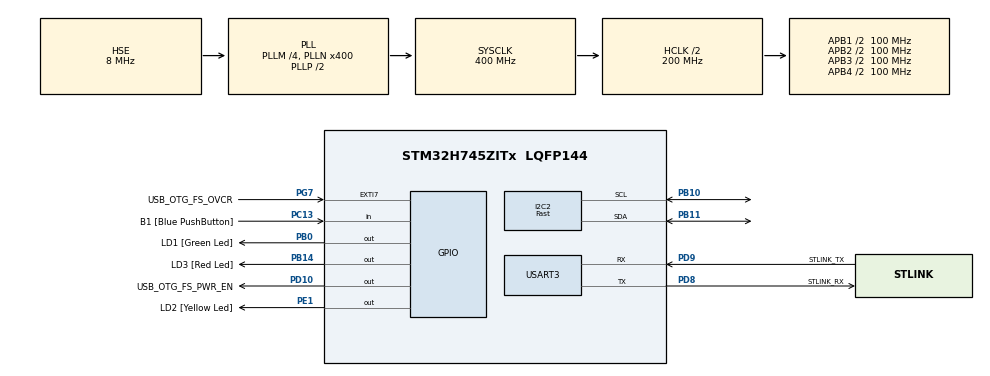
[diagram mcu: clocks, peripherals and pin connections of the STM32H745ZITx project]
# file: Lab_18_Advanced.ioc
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CortexM4.IPs=FATFS_M4\:I,FREERTOS_M4\:I,IWDG2\:I,RCC,WWDG2\:I,DMA,BDMA,MDMA,NVIC2\:I,USART3,ETH,DEBUG,PDM2PCM_M4\:I,PWR,RESMGR_UTILITY,SYS_M4\:I,USB_DEVICE_M4\:I,USB_HOST_M4\:I,CORTEX_M4\:I,GPIO,OPENAMP_M4\:I,VREFBUF
CortexM7.IPs=FATFS_M7\:I,FREERTOS_M7\:I,IWDG1\:I,RCC\:I,WWDG1\:I,DMA\:I,BDMA\:I,MDMA\:I,NVIC1\:I,SYS\:I,USART3\:I,USB_OTG_FS\:I,ETH\:I,CORTEX_M7\:I,DEBUG\:I,PDM2PCM_M7\:I,PWR\:I,RESMGR_UTILITY\:I,USB_DEVICE_M7\:I,USB_HOST_M7\:I,GPIO\:I,OPENAMP_M7\:I,VREFBUF\:I,I2C2\:I
CortexM7.Pins=PB0,PB14,PE1
I2C2.I2C_Speed_Mode=I2C_Fast
I2C2.Timing=0x009034B6
Mcu.Family=STM32H7
Mcu.Name=STM32H745ZITx
Mcu.Package=LQFP144
NVIC1.PriorityGroup=NVIC_PRIORITYGROUP_4
NVIC2.PriorityGroup=NVIC_PRIORITYGROUP_4
PA1.PinAttribute=CortexM7
PA1.Signal=ETH_REF_CLK
PA11.PinAttribute=CortexM7
PA11.Signal=USB_OTG_FS_DM
PA12.PinAttribute=CortexM7
PA12.Signal=USB_OTG_FS_DP
PA2.PinAttribute=CortexM7
PA2.Signal=ETH_MDIO
PA7.PinAttribute=CortexM7
PA7.Signal=ETH_CRS_DV
PA8.PinAttribute=CortexM7
PA8.Signal=USB_OTG_FS_SOF
PA9.PinAttribute=CortexM7
PA9.Signal=USB_OTG_FS_VBUS
PB0.GPIO_Label=LD1 [Green Led]
PB0.PinAttribute=CortexM7
PB0.Signal=GPIO_Output
PB10.Mode=I2C
PB10.PinAttribute=CortexM7
PB10.Signal=I2C2_SCL
PB11.Mode=I2C
PB11.PinAttribute=CortexM7
PB11.Signal=I2C2_SDA
PB13.PinAttribute=CortexM7
PB13.Signal=ETH_TXD1
PB14.GPIO_Label=LD3 [Red Led]
PB14.PinAttribute=CortexM7
PB14.Signal=GPIO_Output
PC1.PinAttribute=CortexM7
PC1.Signal=ETH_MDC
PC13.GPIO_Label=B1 [Blue PushButton]
PC13.PinAttribute=Free
PC13.Signal=GPIO_Input
PC14-OSC32_IN\ (OSC32_IN).PinAttribute=CortexM7
PC14-OSC32_IN\ (OSC32_IN).Signal=RCC_OSC32_IN
PC15-OSC32_OUT\ (OSC32_OUT).PinAttribute=CortexM7
PC15-OSC32_OUT\ (OSC32_OUT).Signal=RCC_OSC32_OUT
PC4.PinAttribute=CortexM7
PC4.Signal=ETH_RXD0
PC5.PinAttribute=CortexM7
PC5.Signal=ETH_RXD1
PD10.GPIO_Label=USB_OTG_FS_PWR_EN
PD10.PinAttribute=Free
PD10.Signal=GPIO_Output
PD8.GPIO_Label=STLINK_RX
PD8.Mode=Asynchronous
PD8.PinAttribute=CortexM7
PD8.Signal=USART3_TX
PD9.GPIO_Label=STLINK_TX
PD9.Mode=Asynchronous
PD9.PinAttribute=CortexM7
PD9.Signal=USART3_RX
PE1.GPIO_Label=LD2 [Yellow Led]
PE1.PinAttribute=CortexM7
PE1.Signal=GPIO_Output
PG11.PinAttribute=CortexM7
PG11.Signal=ETH_TX_EN
PG13.PinAttribute=CortexM7
PG13.Signal=ETH_TXD0
PG7.GPIO_Label=USB_OTG_FS_OVCR
PG7.PinAttribute=Free
PG7.Signal=GPXTI7
PH0-OSC_IN\ (PH0).Mode=HSE-External-Clock-Source
PH0-OSC_IN\ (PH0).PinAttribute=CortexM7
PH0-OSC_IN\ (PH0).Signal=RCC_OSC_IN
PH1-OSC_OUT\ (PH1).PinAttribute=CortexM7
PH1-OSC_OUT\ (PH1).Signal=RCC_OSC_OUT
ProjectManager.HeapSize=M4-0x200,M7-0x200
ProjectManager.StackSize=M4-0x400,M7-0x400
ProjectManager.TargetToolchain=STM32CubeIDE
RCC.ADCFreq_Value=16125000
RCC.APB1Freq_Value=100000000
RCC.APB2Freq_Value=100000000
RCC.APB3Freq_Value=100000000
RCC.APB4Freq_Value=100000000
RCC.CortexFreq_Value=400000000
RCC.D1PPRE=RCC_APB3_DIV2
RCC.D2PPRE1=RCC_APB1_DIV2
RCC.D2PPRE2=RCC_APB2_DIV2
RCC.D3PPRE=RCC_APB4_DIV2
RCC.DIVM1=4
RCC.DIVM3=22
RCC.DIVN1=400
RCC.DIVN3=169
RCC.DIVQ3=4
RCC.HCLKFreq_Value=200000000
RCC.HPRE=RCC_HCLK_DIV2
RCC.HSE_VALUE=8000000
RCC.PLL2FRACN=0
RCC.PLL3FRACN=0
RCC.PLLFRACN=0
RCC.PLLSourceVirtual=RCC_PLLSOURCE_HSE
RCC.SYSCLKFreq_VALUE=400000000
RCC.SYSCLKSource=RCC_SYSCLKSOURCE_PLLCLK
RCC.SupplySource=PWR_DIRECT_SMPS_SUPPLY
RCC.USBCLockSelection=RCC_USBCLKSOURCE_PLL3
RCC.USBFreq_Value=15363636.363636363
USART3.VirtualMode-Asynchronous=VM_ASYNC
VP_SYS_M4_VS_Systick.Mode=SysTick
board=NUCLEO-H745ZI-Q

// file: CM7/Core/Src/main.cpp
/* USER CODE BEGIN Header */
/**
  ******************************************************************************
  * @file           : main.c
  * @brief          : Main program body
  ******************************************************************************
  * @attention
  *
  * Copyright (c) 2023 STMicroelectronics.
  * All rights reserved.
  *
  * This software is licensed under terms that can be found in the LICENSE file
  * in the root directory of this software component.
  * If no LICENSE file comes with this software, it is provided AS-IS.
  *
  ******************************************************************************
  */
/* USER CODE END Header */
#include "main.h"

/* USER CODE BEGIN Includes */
#include "ICM_20948.h"
#include "math.h"
#include "stdio.h"
#include "string.h"
/* USER CODE END Includes */

/* USER CODE BEGIN PD */

#ifndef HSEM_ID_0
#define HSEM_ID_0 (0U) /* HW semaphore 0*/
#endif
/* USER CODE END PD */

I2C_HandleTypeDef hi2c2;

UART_HandleTypeDef huart3;

/* USER CODE BEGIN PV */
ICM_20948_I2C myICM;
/* USER CODE END PV */

void SystemClock_Config(void);
static void MX_GPIO_Init(void);
static void MX_I2C2_Init(void);
static void MX_USART3_UART_Init(void);
/* USER CODE BEGIN PFP */
#ifdef __GNUC__
#define PUTCHAR_PROTOTYPE int __io_putchar(int ch)
#else
#define PUTCHAR_PROTOTYPE int fputc(int ch, FILE *f)
#endif

extern "C" {
PUTCHAR_PROTOTYPE
{
  HAL_UART_Transmit(&huart3, (uint8_t *)&ch, 1, HAL_MAX_DELAY);
  return ch;
}
}
/* USER CODE END PFP */

int main(void)
{
/* USER CODE BEGIN Boot_Mode_Sequence_0 */
  int32_t timeout;
/* USER CODE END Boot_Mode_Sequence_0 */

/* USER CODE BEGIN Boot_Mode_Sequence_1 */
  /* Wait until CPU2 boots and enters in stop mode or timeout*/
  timeout = 0xFFFF;
  while((__HAL_RCC_GET_FLAG(RCC_FLAG_D2CKRDY) != RESET) && (timeout-- > 0));
  if ( timeout < 0 )
  {
  Error_Handler();
  }
/* USER CODE END Boot_Mode_Sequence_1 */
  /* MCU Configuration--------------------------------------------------------*/

  /* Reset of all peripherals, Initializes the Flash interface and the Systick. */
  HAL_Init();

  /* Configure the system clock */
  SystemClock_Config();
/* USER CODE BEGIN Boot_Mode_Sequence_2 */
/* When system initialization is finished, Cortex-M7 will release Cortex-M4 by means of
HSEM notification */
/*HW semaphore Clock enable*/
__HAL_RCC_HSEM_CLK_ENABLE();
/*Take HSEM */
HAL_HSEM_FastTake(HSEM_ID_0);
/*Release HSEM in order to notify the CPU2(CM4)*/
HAL_HSEM_Release(HSEM_ID_0,0);
/* wait until CPU2 wakes up from stop mode */
timeout = 0xFFFF;
while((__HAL_RCC_GET_FLAG(RCC_FLAG_D2CKRDY) == RESET) && (timeout-- > 0));
if ( timeout < 0 )
{
Error_Handler();
}
/* USER CODE END Boot_Mode_Sequence_2 */

  /* Initialize all configured peripherals */
  MX_GPIO_Init();
  MX_I2C2_Init();
  MX_USART3_UART_Init();
  /* USER CODE BEGIN 2 */
  bool initialized = false;
  while (!initialized)
  {
    myICM.begin();

    printf("Initialization of the sensor returned: ");
    printf("%s\r\n", myICM.statusString());
    if (myICM.status != ICM_20948_Stat_Ok)
    {
      printf("Trying again...\r\n");
      HAL_Delay(500);
    }
    else
    {
      initialized = true;
    }
  }

  // In this advanced example we'll cover how to do a more fine-grained setup of your sensor
  printf("Device connected!\r\n");

  // Here we are doing a SW reset to make sure the device starts in a known state
  myICM.swReset();
  if (myICM.status != ICM_20948_Stat_Ok)
  {
    printf("Software Reset returned: ");
    printf("%s\r\n", myICM.statusString());
  }
  HAL_Delay(250);

  // Now wake the sensor up
  myICM.sleep(false);
  myICM.lowPower(false);

  // The next few configuration functions accept a bit-mask of sensors for which the settings should be applied.

  // Set Gyro and Accelerometer to a particular sample mode
  // options: ICM_20948_Sample_Mode_Continuous
  //          ICM_20948_Sample_Mode_Cycled
  myICM.setSampleMode((ICM_20948_Internal_Acc | ICM_20948_Internal_Gyr), ICM_20948_Sample_Mode_Continuous);
  if (myICM.status != ICM_20948_Stat_Ok)
  {
    printf("setSampleMode returned: ");
    printf("%s\r\n", myICM.statusString());
  }

  // Set full scale ranges for both acc and gyr
  ICM_20948_fss_t myFSS; // This uses a "Full Scale Settings" structure that can contain values for all configurable sensors

  myFSS.a = gpm2; // (ICM_20948_ACCEL_CONFIG_FS_SEL_e)
                  // gpm2
                  // gpm4
                  // gpm8
                  // gpm16

  myFSS.g = dps250; // (ICM_20948_GYRO_CONFIG_1_FS_SEL_e)
                    // dps250
                    // dps500
                    // dps1000
                    // dps2000

  myICM.setFullScale((ICM_20948_Internal_Acc | ICM_20948_Internal_Gyr), myFSS);
  if (myICM.status != ICM_20948_Stat_Ok)
  {
    printf("setFullScale returned: ");
    printf("%s\r\n", myICM.statusString());
  }

  // Set up Digital Low-Pass Filter configuration
  ICM_20948_dlpcfg_t myDLPcfg;    // Similar to FSS, this uses a configuration structure for the desired sensors
  myDLPcfg.a = acc_d473bw_n499bw; // (ICM_20948_ACCEL_CONFIG_DLPCFG_e)
                                  // acc_d246bw_n265bw      - means 3db bandwidth is 246 hz and nyquist bandwidth is 265 hz
                                  // acc_d111bw4_n136bw
                                  // acc_d50bw4_n68bw8
                                  // acc_d23bw9_n34bw4
                                  // acc_d11bw5_n17bw
                                  // acc_d5bw7_n8bw3        - means 3 db bandwidth is 5.7 hz and nyquist bandwidth is 8.3 hz
                                  // acc_d473bw_n499bw

  myDLPcfg.g = gyr_d361bw4_n376bw5; // (ICM_20948_GYRO_CONFIG_1_DLPCFG_e)
                                    // gyr_d196bw6_n229bw8
                                    // gyr_d151bw8_n187bw6
                                    // gyr_d119bw5_n154bw3
                                    // gyr_d51bw2_n73bw3
                                    // gyr_d23bw9_n35bw9
                                    // gyr_d11bw6_n17bw8
                                    // gyr_d5bw7_n8bw9
                                    // gyr_d361bw4_n376bw5

  myICM.setDLPFcfg((ICM_20948_Internal_Acc | ICM_20948_Internal_Gyr), myDLPcfg);
  if (myICM.status != ICM_20948_Stat_Ok)
  {
    printf("setDLPcfg returned: ");
    printf("%s\r\n", myICM.statusString());
  }

  // Choose whether or not to use DLPF
  // Here we're also showing another way to access the status values, and that it is OK to supply individual sensor masks to these functions
  ICM_20948_Status_e accDLPEnableStat = myICM.enableDLPF(ICM_20948_Internal_Acc, false);
  ICM_20948_Status_e gyrDLPEnableStat = myICM.enableDLPF(ICM_20948_Internal_Gyr, false);
  printf("Enable DLPF for Accelerometer returned: ");
  printf("%s\r\n", myICM.statusString(accDLPEnableStat));
  printf("Enable DLPF for Gyroscope returned: ");
  printf("%s\r\n", myICM.statusString(gyrDLPEnableStat));

  // Choose whether or not to start the magnetometer
  myICM.startupMagnetometer();
  if (myICM.status != ICM_20948_Stat_Ok)
  {
    printf("startupMagnetometer returned: ");
    printf("%s\r\n", myICM.statusString());
  }

  printf("\r\nConfiguration complete!\r\n");
  /* USER CODE END 2 */

  /* Infinite loop */
  while (1)
  {

    /* USER CODE BEGIN 3 */
    if (myICM.dataReady())
    {
      myICM.getAGMT(); // The values are only updated when you call 'getAGMT'

      // Uncomment this to see the raw values, taken directly from the agmt structure
      //printf("RAW. Acc [ %6d, %6d, %6d ], Gyr [ %6d, %6d, %6d ], Mag [ %6d, %6d, %6d ], Tmp [ %6d ]\r\n",
      //       myICM.agmt.acc.axes.x, myICM.agmt.acc.axes.y, myICM.agmt.acc.axes.z,
      //       myICM.agmt.gyr.axes.x, myICM.agmt.gyr.axes.y, myICM.agmt.gyr.axes.z,
      //       myICM.agmt.mag.axes.x, myICM.agmt.mag.axes.y, myICM.agmt.mag.axes.z,
      //       myICM.agmt.tmp.val);

      // This function takes into account the scale settings from when the measurement was made to calculate the values with units
      printf("Scaled. Acc (mg) [ %8.2f, %8.2f, %8.2f ], Gyr (DPS) [ %8.2f, %8.2f, %8.2f ], Mag (uT) [ %8.2f, %8.2f, %8.2f ], Tmp (C) [ %8.2f ]\r\n",
             myICM.accX(), myICM.accY(), myICM.accZ(),
             myICM.gyrX(), myICM.gyrY(), myICM.gyrZ(),
             myICM.magX(), myICM.magY(), myICM.magZ(),
             myICM.temp());

      HAL_Delay(30);
    }
    else
    {
      printf("Waiting for data\r\n");
      HAL_Delay(500);
    }
  }
  /* USER CODE END 3 */
}

void SystemClock_Config(void)
{
  RCC_OscInitTypeDef RCC_OscInitStruct = {0};
  RCC_ClkInitTypeDef RCC_ClkInitStruct = {0};

  /** Supply configuration update enable
  */
  HAL_PWREx_ConfigSupply(PWR_DIRECT_SMPS_SUPPLY);

  /** Configure the main internal regulator output voltage
  */
  __HAL_PWR_VOLTAGESCALING_CONFIG(PWR_REGULATOR_VOLTAGE_SCALE1);

  while(!__HAL_PWR_GET_FLAG(PWR_FLAG_VOSRDY)) {}

  /** Initializes the RCC Oscillators according to the specified parameters
  * in the RCC_OscInitTypeDef structure.
  */
  RCC_OscInitStruct.OscillatorType = RCC_OSCILLATORTYPE_HSE;
  RCC_OscInitStruct.HSEState = RCC_HSE_BYPASS;
  RCC_OscInitStruct.PLL.PLLState = RCC_PLL_ON;
  RCC_OscInitStruct.PLL.PLLSource = RCC_PLLSOURCE_HSE;
  RCC_OscInitStruct.PLL.PLLM = 4;
  RCC_OscInitStruct.PLL.PLLN = 400;
  RCC_OscInitStruct.PLL.PLLP = 2;
  RCC_OscInitStruct.PLL.PLLQ = 2;
  RCC_OscInitStruct.PLL.PLLR = 2;
  RCC_OscInitStruct.PLL.PLLRGE = RCC_PLL1VCIRANGE_1;
  RCC_OscInitStruct.PLL.PLLVCOSEL = RCC_PLL1VCOWIDE;
  RCC_OscInitStruct.PLL.PLLFRACN = 0;
  if (HAL_RCC_OscConfig(&RCC_OscInitStruct) != HAL_OK)
  {
    Error_Handler();
  }

  /** Initializes the CPU, AHB and APB buses clocks
  */
  RCC_ClkInitStruct.ClockType = RCC_CLOCKTYPE_HCLK|RCC_CLOCKTYPE_SYSCLK
                              |RCC_CLOCKTYPE_PCLK1|RCC_CLOCKTYPE_PCLK2
                              |RCC_CLOCKTYPE_D3PCLK1|RCC_CLOCKTYPE_D1PCLK1;
  RCC_ClkInitStruct.SYSCLKSource = RCC_SYSCLKSOURCE_PLLCLK;
  RCC_ClkInitStruct.SYSCLKDivider = RCC_SYSCLK_DIV1;
  RCC_ClkInitStruct.AHBCLKDivider = RCC_HCLK_DIV2;
  RCC_ClkInitStruct.APB3CLKDivider = RCC_APB3_DIV2;
  RCC_ClkInitStruct.APB1CLKDivider = RCC_APB1_DIV2;
  RCC_ClkInitStruct.APB2CLKDivider = RCC_APB2_DIV2;
  RCC_ClkInitStruct.APB4CLKDivider = RCC_APB4_DIV2;

  if (HAL_RCC_ClockConfig(&RCC_ClkInitStruct, FLASH_LATENCY_2) != HAL_OK)
  {
    Error_Handler();
  }
}

static void MX_I2C2_Init(void)
{

  hi2c2.Instance = I2C2;
  hi2c2.Init.Timing = 0x009034B6;
  hi2c2.Init.OwnAddress1 = 0;
  hi2c2.Init.AddressingMode = I2C_ADDRESSINGMODE_7BIT;
  hi2c2.Init.DualAddressMode = I2C_DUALADDRESS_DISABLE;
  hi2c2.Init.OwnAddress2 = 0;
  hi2c2.Init.OwnAddress2Masks = I2C_OA2_NOMASK;
  hi2c2.Init.GeneralCallMode = I2C_GENERALCALL_DISABLE;
  hi2c2.Init.NoStretchMode = I2C_NOSTRETCH_DISABLE;
  if (HAL_I2C_Init(&hi2c2) != HAL_OK)
  {
    Error_Handler();
  }

  /** Configure Analogue filter
  */
  if (HAL_I2CEx_ConfigAnalogFilter(&hi2c2, I2C_ANALOGFILTER_ENABLE) != HAL_OK)
  {
    Error_Handler();
  }

  /** Configure Digital filter
  */
  if (HAL_I2CEx_ConfigDigitalFilter(&hi2c2, 0) != HAL_OK)
  {
    Error_Handler();
  }

}

static void MX_USART3_UART_Init(void)
{

  huart3.Instance = USART3;
  huart3.Init.BaudRate = 115200;
  huart3.Init.WordLength = UART_WORDLENGTH_8B;
  huart3.Init.StopBits = UART_STOPBITS_1;
  huart3.Init.Parity = UART_PARITY_NONE;
  huart3.Init.Mode = UART_MODE_TX_RX;
  huart3.Init.HwFlowCtl = UART_HWCONTROL_NONE;
  huart3.Init.OverSampling = UART_OVERSAMPLING_16;
  huart3.Init.OneBitSampling = UART_ONE_BIT_SAMPLE_DISABLE;
  huart3.Init.ClockPrescaler = UART_PRESCALER_DIV1;
  huart3.AdvancedInit.AdvFeatureInit = UART_ADVFEATURE_NO_INIT;
  if (HAL_UART_Init(&huart3) != HAL_OK)
  {
    Error_Handler();
  }
  if (HAL_UARTEx_SetTxFifoThreshold(&huart3, UART_TXFIFO_THRESHOLD_1_8) != HAL_OK)
  {
    Error_Handler();
  }
  if (HAL_UARTEx_SetRxFifoThreshold(&huart3, UART_RXFIFO_THRESHOLD_1_8) != HAL_OK)
  {
    Error_Handler();
  }
  if (HAL_UARTEx_DisableFifoMode(&huart3) != HAL_OK)
  {
    Error_Handler();
  }

}

static void MX_GPIO_Init(void)
{
  GPIO_InitTypeDef GPIO_InitStruct = {0};

  /* GPIO Ports Clock Enable */
  __HAL_RCC_GPIOC_CLK_ENABLE();
  __HAL_RCC_GPIOH_CLK_ENABLE();
  __HAL_RCC_GPIOA_CLK_ENABLE();
  __HAL_RCC_GPIOB_CLK_ENABLE();
  __HAL_RCC_GPIOD_CLK_ENABLE();
  __HAL_RCC_GPIOG_CLK_ENABLE();
  __HAL_RCC_GPIOE_CLK_ENABLE();

  /*Configure GPIO pin Output Level */
  HAL_GPIO_WritePin(GPIOB, LD1_Pin|LD3_Pin, GPIO_PIN_RESET);

  /*Configure GPIO pin Output Level */
  HAL_GPIO_WritePin(LD2_GPIO_Port, LD2_Pin, GPIO_PIN_RESET);

  /*Configure GPIO pins : PC1 PC4 PC5 */
  GPIO_InitStruct.Pin = GPIO_PIN_1|GPIO_PIN_4|GPIO_PIN_5;
  GPIO_InitStruct.Mode = GPIO_MODE_AF_PP;
  GPIO_InitStruct.Pull = GPIO_NOPULL;
  GPIO_InitStruct.Speed = GPIO_SPEED_FREQ_LOW;
  GPIO_InitStruct.Alternate = GPIO_AF11_ETH;
  HAL_GPIO_Init(GPIOC, &GPIO_InitStruct);

  /*Configure GPIO pins : PA1 PA2 PA7 */
  GPIO_InitStruct.Pin = GPIO_PIN_1|GPIO_PIN_2|GPIO_PIN_7;
  GPIO_InitStruct.Mode = GPIO_MODE_AF_PP;
  GPIO_InitStruct.Pull = GPIO_NOPULL;
  GPIO_InitStruct.Speed = GPIO_SPEED_FREQ_LOW;
  GPIO_InitStruct.Alternate = GPIO_AF11_ETH;
  HAL_GPIO_Init(GPIOA, &GPIO_InitStruct);

  /*Configure GPIO pins : LD1_Pin LD3_Pin */
  GPIO_InitStruct.Pin = LD1_Pin|LD3_Pin;
  GPIO_InitStruct.Mode = GPIO_MODE_OUTPUT_PP;
  GPIO_InitStruct.Pull = GPIO_NOPULL;
  GPIO_InitStruct.Speed = GPIO_SPEED_FREQ_LOW;
  HAL_GPIO_Init(GPIOB, &GPIO_InitStruct);

  /*Configure GPIO pin : PB13 */
  GPIO_InitStruct.Pin = GPIO_PIN_13;
  GPIO_InitStruct.Mode = GPIO_MODE_AF_PP;
  GPIO_InitStruct.Pull = GPIO_NOPULL;
  GPIO_InitStruct.Speed = GPIO_SPEED_FREQ_LOW;
  GPIO_InitStruct.Alternate = GPIO_AF11_ETH;
  HAL_GPIO_Init(GPIOB, &GPIO_InitStruct);

  /*Configure GPIO pins : PA8 PA11 PA12 */
  GPIO_InitStruct.Pin = GPIO_PIN_8|GPIO_PIN_11|GPIO_PIN_12;
  GPIO_InitStruct.Mode = GPIO_MODE_AF_PP;
  GPIO_InitStruct.Pull = GPIO_NOPULL;
  GPIO_InitStruct.Speed = GPIO_SPEED_FREQ_LOW;
  GPIO_InitStruct.Alternate = GPIO_AF10_OTG1_FS;
  HAL_GPIO_Init(GPIOA, &GPIO_InitStruct);

  /*Configure GPIO pins : PG11 PG13 */
  GPIO_InitStruct.Pin = GPIO_PIN_11|GPIO_PIN_13;
  GPIO_InitStruct.Mode = GPIO_MODE_AF_PP;
  GPIO_InitStruct.Pull = GPIO_NOPULL;
  GPIO_InitStruct.Speed = GPIO_SPEED_FREQ_LOW;
  GPIO_InitStruct.Alternate = GPIO_AF11_ETH;
  HAL_GPIO_Init(GPIOG, &GPIO_InitStruct);

  /*Configure GPIO pin : LD2_Pin */
  GPIO_InitStruct.Pin = LD2_Pin;
  GPIO_InitStruct.Mode = GPIO_MODE_OUTPUT_PP;
  GPIO_InitStruct.Pull = GPIO_NOPULL;
  GPIO_InitStruct.Speed = GPIO_SPEED_FREQ_LOW;
  HAL_GPIO_Init(LD2_GPIO_Port, &GPIO_InitStruct);

}

/* USER CODE BEGIN 4 */
HAL_StatusTypeDef I2C_write(uint8_t slave_addr, uint8_t reg_addr,
    uint8_t length, uint8_t *data) {
  return HAL_I2C_Mem_Write(&hi2c2, slave_addr << 1, reg_addr,
  I2C_MEMADD_SIZE_8BIT, data, length, 10);
}

HAL_StatusTypeDef I2C_read(uint8_t slave_addr, uint8_t reg_addr, uint8_t length,
    uint8_t *data) {
  return HAL_I2C_Mem_Read(&hi2c2, slave_addr << 1, reg_addr,
  I2C_MEMADD_SIZE_8BIT, data, length, 10);
}
/* USER CODE END 4 */

void Error_Handler(void)
{
  __disable_irq();
  while (1)
  {
  }
}
